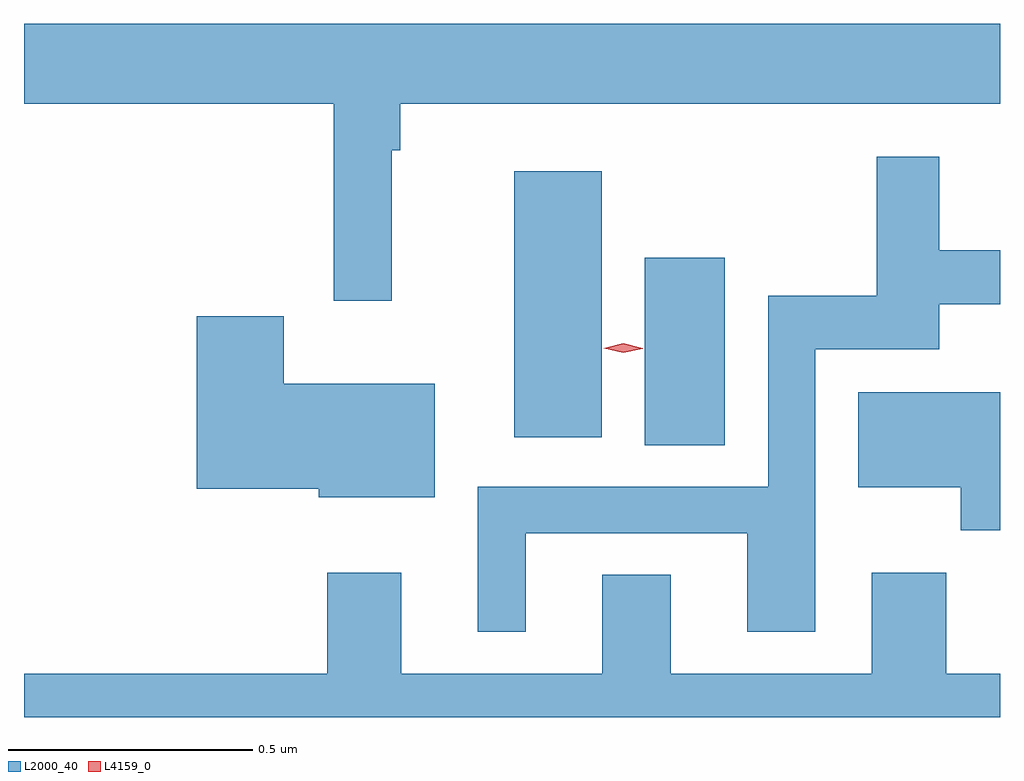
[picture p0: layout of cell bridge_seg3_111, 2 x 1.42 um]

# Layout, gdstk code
import gdstk
lib = gdstk.Library(unit=1e-6, precision=1e-09)
def R(c, l, rs):  # rectangles x0, y0, x1, y1
    for r in rs: c.add(gdstk.rectangle(r[:2], r[2:], *l))
def P(c, l, *ps):  # polygons
    for p in ps: c.add(gdstk.Polygon(p, *l))
L2000_40 = (2000, 40)
L4159_0 = (4159, 0)

bridge_seg3_111 = lib.new_cell('bridge_seg3_111')
R(bridge_seg3_111, L2000_40, [(358.946,721.528,359.11,721.912), (358.679,721.544,358.858,722.089)])
P(bridge_seg3_111, L2000_40, [(358.428,722.132),(358.445,722.132),(358.445,722.228),(359.674,722.228),(359.674,722.392),(357.674,722.392),(357.674,722.228),(358.309,722.228),(358.309,721.824),(358.428,721.824)],
  [(358.702,721.347),(359.156,721.347),(359.156,721.146),(359.295,721.146),(359.295,721.725),(359.549,721.725),(359.549,721.817),(359.674,721.817),(359.674,721.927),(359.549,721.927),(359.549,722.119),(359.421,722.119),(359.421,721.834),(359.199,721.834),(359.199,721.443),(358.604,721.443),(358.604,721.146),(358.702,721.146)],
  [(358.516,721.654),(358.206,721.654),(358.206,721.792),(358.028,721.792),(358.028,721.439),(358.278,721.439),(358.278,721.421),(358.516,721.421)],
  [(359.674,721.636),(359.384,721.636),(359.384,721.442),(359.594,721.442),(359.594,721.354),(359.674,721.354)],
  [(359.674,721.06),(359.564,721.06),(359.564,721.267),(359.411,721.267),(359.411,721.06),(358.999,721.06),(358.999,721.262),(358.859,721.262),(358.859,721.06),(358.447,721.06),(358.447,721.267),(358.295,721.267),(358.295,721.06),(357.674,721.06),(357.674,720.97),(359.674,720.97)])
P(bridge_seg3_111, L4159_0, [(358.902,721.717),(358.862,721.727),(358.862,721.727),(358.862,721.727),(358.902,721.737),(358.942,721.727),(358.942,721.726),(358.942,721.726)])

lib.write_gds('bridge_seg3_111.gds')
